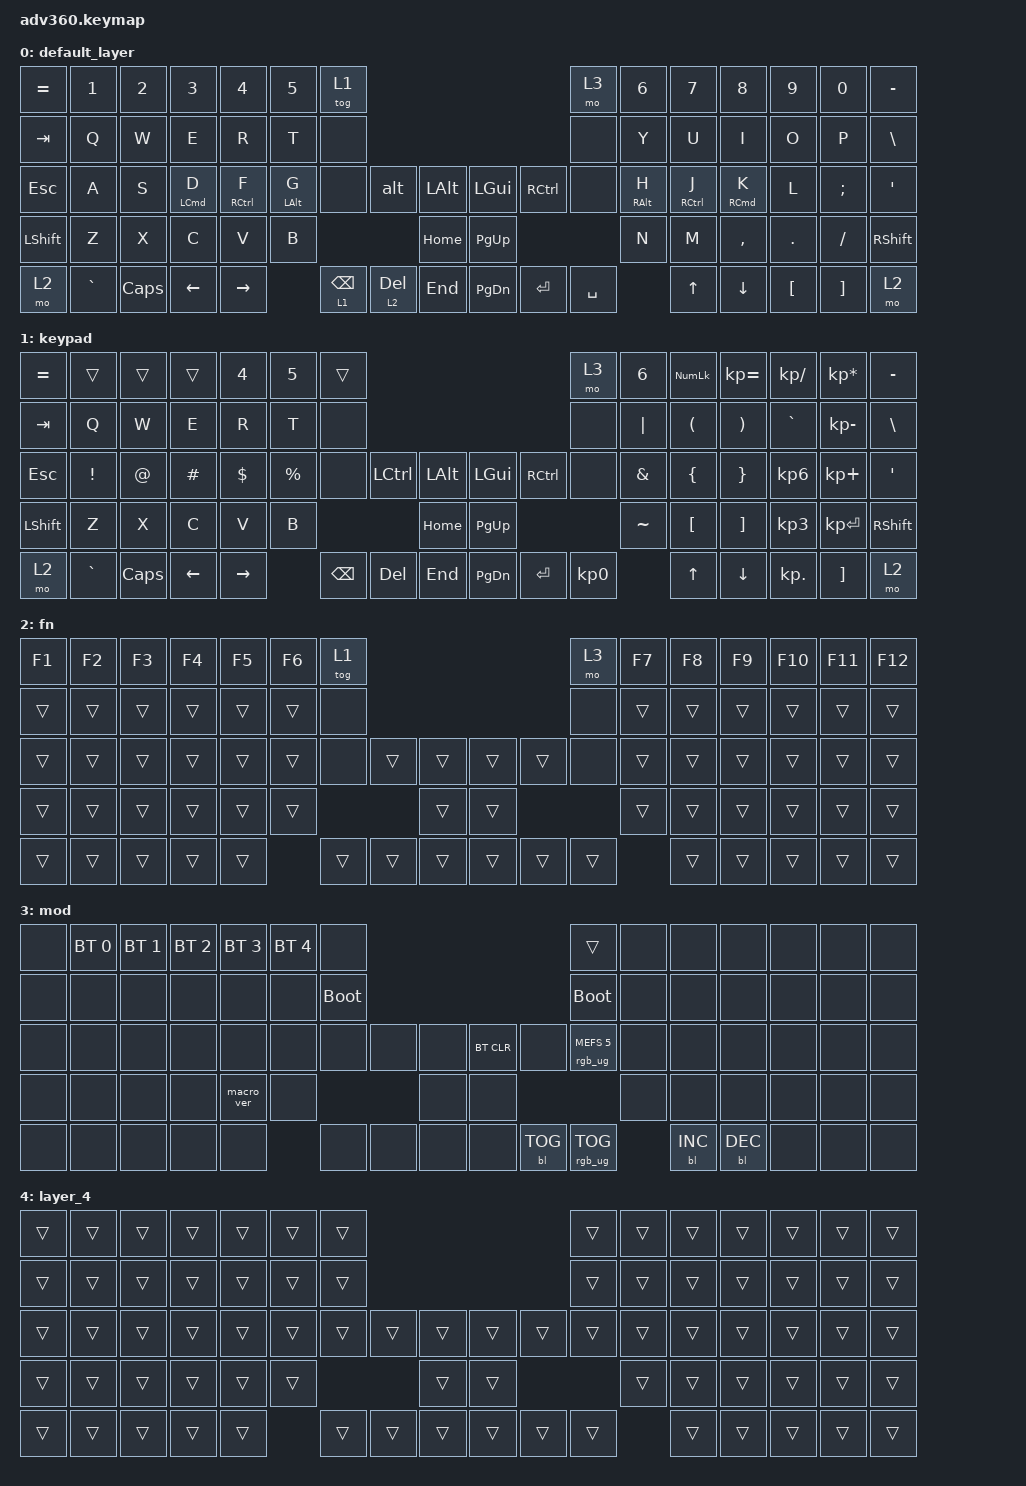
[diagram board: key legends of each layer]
#include <behaviors.dtsi>
#include <dt-bindings/zmk/backlight.h>
#include <dt-bindings/zmk/bt.h>
#include <dt-bindings/zmk/keys.h>
#include <dt-bindings/zmk/rgb.h>

/ {
    behaviors {
        #include "macros.dtsi"
      #include "version.dtsi"
      #ifndef VERSION_MACRO

        macro_ver: macro_ver {
            compatible = "zmk,behavior-macro";
            label = "macro_version";
            #binding-cells = <0>;
            bindings = <&kp RET>;
        };

        m1: m1 {
            compatible = "zmk,behavior-macro";
            #binding-cells = <0>;
            bindings = <&none &kp MINUS &kp N4 &kp D &kp N4 &kp LS(E) &kp LS(U) &kp LS(U) &kp LS(Z) &kp LS(M) &kp LS(Z) &kp LS(Y)>;
            label = "M1";
        };

        dbz: dbz {
            compatible = "zmk,behavior-macro";
            #binding-cells = <0>;
            bindings = <&none &kp LS(B) &kp R &kp O &kp L &kp Y &kp LS(B) &kp A &kp R &kp D &kp O &kp C &kp K &kp DLLR &kp DLLR &kp N2 &kp LS(V) &kp E &kp G &kp E &kp T &kp A &kp LS(F) &kp U &kp T &kp U &kp R &kp E &kp LS(G) &kp O &kp H &kp A &kp N>;
            label = "DBZ";
        };

        p1: p1 {
            compatible = "zmk,behavior-macro";
            #binding-cells = <0>;
            bindings = <&none &kp G &kp U &kp D &kp X &kp E &kp LS(M) &kp MINUS &kp R &kp O &kp Z &kp N &kp O &kp N5 &kp MINUS &kp X &kp Y &kp T &kp G &kp A &kp J>;
            label = "P1";
        };

        #endif

        hm: homerow_mods {
            compatible = "zmk,behavior-hold-tap";
            label = "HOMEROW_MODS";
            #binding-cells = <2>;
            tapping-term-ms = <200>;
            quick_tap_ms = <175>;
            flavor = "tap-preferred";
            bindings = <&kp>, <&kp>;
        };

        alt: m1 {
            compatible = "zmk,behavior-tap-dance";
            label = "ALT";
            #binding-cells = <0>;
            bindings = <&kp LEFT_ALT>, <&kp LS(LEFT_ALT)>, <&mo 1>;
        };
    };

    macros {
    };

    keymap {
        compatible = "zmk,keymap";

        default_layer {
            bindings = <
&kp EQUAL  &kp N1     &kp N2    &kp N3              &kp N4       &kp N5          &tog 1                                                             &mo 3      &kp N6           &kp N7       &kp N8               &kp N9    &kp N0    &kp MINUS
&kp TAB    &kp Q      &kp W     &kp E               &kp R        &kp T           &none                                                              &none      &kp Y            &kp U        &kp I                &kp O     &kp P     &kp BSLH
&kp ESC    &kp A      &kp S     &hm LEFT_COMMAND D  &hm RCTRL F  &hm LEFT_ALT G  &none            &alt          &kp LALT      &kp LGUI   &kp RCTRL  &none      &hm RIGHT_ALT H  &hm RCTRL J  &hm RIGHT_COMMAND K  &kp L     &kp SEMI  &kp SQT
&kp LSHFT  &kp Z      &kp X     &kp C               &kp V        &kp B                                          &kp HOME      &kp PG_UP                        &kp N            &kp M        &kp COMMA            &kp DOT   &kp FSLH  &kp RSHFT
&mo 2      &kp GRAVE  &kp CAPS  &kp LEFT            &kp RIGHT                    &lt 1 BACKSPACE  &lt 2 DELETE  &kp END       &kp PG_DN  &kp ENTER  &kp SPACE                   &kp UP       &kp DOWN             &kp LBKT  &kp RBKT  &mo 2
            >;
        };

        keypad {
            bindings = <
&kp EQUAL  &trans           &trans       &trans     &kp N4      &kp N5       &trans                                                   &mo 3      &kp N6         &kp KP_NUM            &kp KP_EQUAL           &kp KP_DIVIDE  &kp KP_MULTIPLY  &kp MINUS
&kp TAB    &kp Q            &kp W        &kp E      &kp R       &kp T        &none                                                    &none      &kp PIPE       &kp LEFT_PARENTHESIS  &kp RIGHT_PARENTHESIS  &kp GRAVE      &kp KP_MINUS     &kp BSLH
&kp ESC    &kp EXCLAMATION  &kp AT_SIGN  &kp POUND  &kp DOLLAR  &kp PERCENT  &none     &kp LCTRL  &kp LALT      &kp LGUI   &kp RCTRL  &none      &kp AMPERSAND  &kp LBRC              &kp RIGHT_BRACE        &kp KP_N6      &kp KP_PLUS      &kp SQT
&kp LSHFT  &kp Z            &kp X        &kp C      &kp V       &kp B                             &kp HOME      &kp PG_UP                        &kp TILDE      &kp LEFT_BRACKET      &kp RIGHT_BRACKET      &kp KP_N3      &kp KP_ENTER     &kp RSHFT
&mo 2      &kp GRAVE        &kp CAPS     &kp LEFT   &kp RIGHT                &kp BSPC  &kp DEL    &kp END       &kp PG_DN  &kp ENTER  &kp KP_N0                 &kp UP                &kp DOWN               &kp KP_DOT     &kp RBKT         &mo 2
            >;
        };

        fn {
            bindings = <
&kp F1  &kp F2  &kp F3  &kp F4  &kp F5  &kp F6  &tog 1                                      &mo 3   &kp F7  &kp F8  &kp F9  &kp F10  &kp F11  &kp F12
&trans  &trans  &trans  &trans  &trans  &trans  &none                                       &none   &trans  &trans  &trans  &trans   &trans   &trans
&trans  &trans  &trans  &trans  &trans  &trans  &none   &trans  &trans      &trans  &trans  &none   &trans  &trans  &trans  &trans   &trans   &trans
&trans  &trans  &trans  &trans  &trans  &trans                  &trans      &trans                  &trans  &trans  &trans  &trans   &trans   &trans
&trans  &trans  &trans  &trans  &trans          &trans  &trans  &trans      &trans  &trans  &trans          &trans  &trans  &trans   &trans   &trans
            >;
        };

        mod {
            bindings = <
&none  &bt BT_SEL 0  &bt BT_SEL 1  &bt BT_SEL 2  &bt BT_SEL 3  &bt BT_SEL 4  &none                                                  &trans                  &none  &none       &none       &none  &none  &none
&none  &none         &none         &none         &none         &none         &bootloader                                            &bootloader             &none  &none       &none       &none  &none  &none
&none  &none         &none         &none         &none         &none         &none        &none  &none      &bt BT_CLR  &none       &rgb_ug RGB_MEFS_CMD 5  &none  &none       &none       &none  &none  &none
&none  &none         &none         &none         &macro_ver    &none                             &none      &none                                           &none  &none       &none       &none  &none  &none
&none  &none         &none         &none         &none                       &none        &none  &none      &none       &bl BL_TOG  &rgb_ug RGB_TOG                &bl BL_INC  &bl BL_DEC  &none  &none  &none
            >;
        };

        layer_4 {
            bindings = <
&trans  &trans  &trans  &trans  &trans  &trans  &trans                                      &trans  &trans  &trans  &trans  &trans  &trans  &trans
&trans  &trans  &trans  &trans  &trans  &trans  &trans                                      &trans  &trans  &trans  &trans  &trans  &trans  &trans
&trans  &trans  &trans  &trans  &trans  &trans  &trans  &trans  &trans      &trans  &trans  &trans  &trans  &trans  &trans  &trans  &trans  &trans
&trans  &trans  &trans  &trans  &trans  &trans                  &trans      &trans                  &trans  &trans  &trans  &trans  &trans  &trans
&trans  &trans  &trans  &trans  &trans          &trans  &trans  &trans      &trans  &trans  &trans          &trans  &trans  &trans  &trans  &trans
            >;
        };
    };
};
